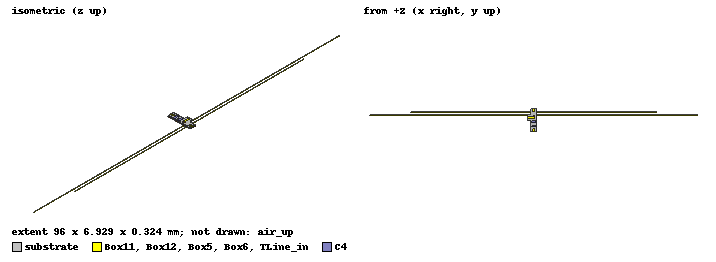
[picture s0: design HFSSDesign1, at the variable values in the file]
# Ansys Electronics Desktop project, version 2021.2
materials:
  vacuum: permittivity=1
  Al2_O3_ceramic: permittivity=9.9 dielectric_loss_tangent=0.002
  copper: permeability=0.999991 conductivity=58000000

design HFSSDesign1 (HFSS, DrivenModal, model units mm)
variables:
  l_sub12g = 2.576mm
  w_line12g = 0.395mm
  delta_x_HP12g = 0.05mm
  l_sub_LPF12g = 4.008mm
  l_line112g = 2mm
  h_sub12G = 0.254mm
  w_sub12G = 1.7mm
  copper = 0.035mm
  gap_down_box12g = 0.2mm
  h_down_box12g = 0.25mm
  h_up_box12g = 0.25mm
  gap_up_box12g = 0mm
  l_line312g = 0.04mm
  delta_cover_HPF12g = 0.05mm
  l_line212g = 1mm
  w_L212g = (0.032 * 0.2) mm
  L2_g212g = 0.075mm
  d_L212g = 1.41mm
  cover_HPF_out12g = 0.1mm
  w_L412g = (0.056 * 0.2) mm
  d_L412g = 0.62mm
  L4_g112g = 0.16 * index1
  L4_g212g = 0.08mm
  L4_g412g = 0.3mm
  L4_g312g = 0.85mm
  L2_g312g = 0.75mm
  L2_g112g = 0.12 * index1
  L2_g412g = 0.3mm
  l_L512g = 0.693mm
  w_L512g = 0.08mm
  w_C412g = 1.45mm
  l_C412g = 0.5544mm
  l_L312g = 0.8208mm
  w_L312g = 0.03mm
  l_C212g = 0.4554mm
  w_C212g = 1.45mm
  l_L112g = 0.4644mm
  w_L112g = 0.09mm
  l_line412g = 1mm
  compensation_y = L2_g212g + cover_HPF_out12g + l_line212g + 1.426mm - l_sub12g
  compensation_y_2 = l_line312g + l_L512g + l_C412g + l_L312g + l_C212g + l_L112g + l_line412g - l_sub_LPF12g
  index1 = 0.6m
  w_C1 = 0.37mm
  w_C1_y = 0.22mm
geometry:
  substrate [Al2_O3_ceramic] = box(corner=(-w_sub12G/2, l_sub12g, 0mm), size=(w_sub12G, -(l_sub12g+(w_line12g-delta_x_HP12g)+l_sub_LPF12g), -h_sub12G))
  coordinate_system RelativeCS1 = origin=(0mm, -(w_line12g-delta_x_HP12g), 0mm) x=(-1mm, 0mm, 0mm) y=(0mm, -1mm, 0mm)
  coordinate_system RelativeCS2 = origin=(-w_line12g/2, -w_line12g/2, 0mm) x=(1mm, 0mm, 0mm) y=(0mm, 1mm, 0mm) in RelativeCS1
  sub_in = box(corner=(0, w_sub12g/2, 0mm), size=(l_line112g, -w_sub12g, -h_sub12g)) in RelativeCS2
  substrate.unite(sub_in)
  air_up [vacuum] = box(corner=(-(w_sub12g+2*gap_up_box12g)/2, l_sub12g, -(h_sub12g+copper)), size=(w_sub12g+2*gap_up_box12g, -(l_sub12g+(w_line12g-delta_x_HP12g)+l_sub_LPF12g), h_up_box12g+h_sub12g+copper))
  air_down = box(corner=(-(w_sub12g-2*gap_down_box12g)/2, l_sub12g, -(h_sub12g+copper)), size=(w_sub12g-2*gap_down_box12g, -(l_sub12g+(w_line12g-delta_x_HP12g)+l_sub_LPF12g), -h_down_box12g))
  air_up.unite(air_down)
  air_in1 = box(corner=(0, w_sub12g/2, -(h_sub12g+copper)), size=(l_line112g, -w_sub12g, h_sub12g+copper+h_up_box12g)) in RelativeCS2
  air_in2 = box(corner=(0, -(w_sub12g-2*gap_down_box12g)/2, -(h_sub12g+copper+h_down_box12g)), size=(l_line112g, w_sub12g-2*gap_down_box12g, h_down_box12g)) in RelativeCS2
  air_in1.unite(air_in2)
  air_up.unite(air_in1)
  TLine_in [copper] = box(corner=(w_line12g/2, 0.05mm, 0mm), size=(-l_line112g, -w_line12g, copper))
  Rectangle2 [copper] = rectangle(corner=(w_sub12g/2, l_sub12g, -h_sub12g), x_size=-gap_down_box12g, y_size=-(l_sub12g+(w_line12g-delta_x_HP12g)+l_sub_LPF12g))
  Rectangle2.thicken(-copper)
  TLine_out [copper] = box(corner=(-w_line12g/2, d_L212g+w_L212g/2+L2_g212g+cover_HPF_out12g, 0mm), size=(w_line12g, l_line212g - (w_L212g- 0.032mm)/2 -(d_L212g - 1.41mm) -compensation_y, copper))
  L5 [copper] = box(corner=(-w_L512g/2, l_line312g, 0mm), size=(w_L512g, l_L512g, copper)) in RelativeCS1
  C4 [copper] = box(corner=(-w_C412g/2, l_line312g+l_L512g, 0mm), size=(w_C412g, l_C412g, copper)) in RelativeCS1
  L3 [copper] = box(corner=(-w_L312g/2, l_line312g+l_L512g+l_C412g, 0mm), size=(w_L312g, l_L312g, copper)) in RelativeCS1
  C2 [copper] = box(corner=(-w_C212g/2, l_line312g+l_L512g+l_C412g+l_L312g, 0mm), size=(w_C212g, l_C212g, copper)) in RelativeCS1
  L1 [copper] = box(corner=(-w_L112g/2, l_line312g+l_L512g+l_C412g+l_L312g+l_C212g, 0mm), size=(w_L112g, l_L112g, copper)) in RelativeCS1
  TLine_out1 [copper] = box(corner=(-w_line12g/2, l_line312g+l_L512g+l_C412g+l_L312g+l_C212g+l_L112g, 0mm), size=(w_line12g, l_line412g - compensation_y_2, copper)) in RelativeCS1
  C4_bottom [copper] = box(corner=(-(w_sub12g-gap_down_box12g*2)/2, l_line312g+l_L512g, -h_sub12g), size=(w_sub12g-gap_down_box12g*2, l_C412g, -copper)) in RelativeCS1
  C2_bottom [copper] = box(corner=(-(w_sub12g-gap_down_box12g*2)/2, l_line312g+l_L512g+l_C412g+l_L312g, -h_sub12g), size=(w_sub12g-gap_down_box12g*2, l_C212g, -copper)) in RelativeCS1
  Rectangle9 [copper] = rectangle(corner=(l_line112g, w_sub12g/2, -h_sub12g), x_size=-(l_line112g-w_sub12g/2-w_line12g/2), y_size=-gap_down_box12g) in RelativeCS2
  Rectangle11 = rectangle(corner=(w_sub12g/2+w_line12g/2, w_sub12g/2-gap_down_box12g, -h_sub12g), x_size=-gap_down_box12g, y_size=l_sub_LPF12g-(w_sub12g/2-gap_down_box12g-w_line12g/2)) in RelativeCS2
  Rectangle9.unite(Rectangle11)
  Rectangle9.thicken(-copper)
  Rectangle10 [copper] = rectangle(corner=(l_line112g, -w_sub12g/2, -h_sub12g), x_size=-(l_line112g-w_sub12g/2-w_line12g/2), y_size=gap_down_box12g) in RelativeCS2
  Rectangle12 = rectangle(corner=(w_sub12g/2+w_line12g/2, -(w_sub12g/2-gap_down_box12g), -h_sub12g), x_size=-gap_down_box12g, y_size=-(l_sub12g-delta_x_HP12g-(w_sub12g/2-gap_down_box12g-w_line12g/2))) in RelativeCS2
  Rectangle10.unite(Rectangle12)
  Rectangle10.thicken(copper)
  Box1 [copper] = box(corner=(0mm, -w_line12g/2, 0mm), size=(w_C1, -delta_cover_HPF12g - w_C1_y, copper)) in RelativeCS2
  Box2 [copper] = box(corner=(0mm, w_line12g/2, 0mm), size=(w_line12g, l_line312g, copper)) in RelativeCS2
  Box3 [copper] = box(corner=(-(w_sub12g-2*gap_down_box12g)/2, d_L212g, -h_sub12g), size=(w_sub12g-2*gap_down_box12g, w_L212g/2, -copper))
  Box4 [copper] = box(corner=(-(w_sub12g-2*gap_down_box12g)/2, d_L212g-w_L212g/2, -h_sub12g), size=(w_sub12g-2*gap_down_box12g, w_L212g/2, -copper))
  Box5 [copper] = box(corner=(-L2_g112g/2, d_L212g+w_L212g/2, -h_sub12g), size=(L2_g112g, L2_g212g, -copper))
  Box6 [copper] = box(corner=(-L2_g112g/2, d_L212g+w_L212g/2-w_L212g, -h_sub12g), size=(L2_g112g, -L2_g212g, -copper))
  Box7 [copper] = box(corner=(-L2_g312g/2, d_L212g+w_L212g/2+L2_g212g, -h_sub12g), size=(L2_g312g, L2_g412g, -copper))
  Box8 [copper] = box(corner=(-L2_g312g/2, d_L212g+w_L212g/2+L2_g212g-L2_g212g*2-w_L212g, -h_sub12g), size=(L2_g312g, -L2_g412g, -copper))
  Box9 [copper] = box(corner=(-(w_sub12g-gap_down_box12g*2)/2, d_L412g, -h_sub12g), size=(w_sub12g-gap_down_box12g*2, w_L412g/2, -copper))
  Box10 [copper] = box(corner=(-(w_sub12g-gap_down_box12g*2)/2, d_L412g, -h_sub12g), size=(w_sub12g-gap_down_box12g*2, -w_L412g/2, -copper))
  Box11 [copper] = box(corner=(-L4_g112g/2, d_L412g+w_L412g/2, -h_sub12g), size=(L4_g112g, L4_g212g, -copper))
  Box12 [copper] = box(corner=(-L4_g112g/2, d_L412g+w_L412g/2-w_L412g, -h_sub12g), size=(L4_g112g, -L4_g212g, -copper))
  Box13 [copper] = box(corner=(-L4_g312g/2, d_L412g+w_L412g/2+L4_g212g, -h_sub12g), size=(L4_g312g, L4_g412g, -copper))
  Box14 [copper] = box(corner=(-L4_g312g/2, d_L412g+w_L412g/2+L4_g212g-L4_g212g*2-w_L412g, -h_sub12g), size=(L4_g312g, -L4_g412g, -copper))
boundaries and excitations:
  1: Wave Port Faces=air_up.face(6 of 6) NumModes=1 Modes{Mode1{IntLine{middle of TLine_in.edge(3 of 12) -> middle of air_up.edge(5 of 12)} CharImp=Zpi}}
  2: Wave Port Faces=air_up.face(+y) NumModes=1 Modes{Mode1{IntLine{middle of TLine_out.edge(2 of 12) -> middle of air_up.edge(8 of 12)} CharImp=Zpi}}
  3: Wave Port Faces=air_up.face(-y) NumModes=1 Modes{Mode1{IntLine{middle of TLine_out1.edge(2 of 12) -> middle of air_up.edge(6 of 12)} CharImp=Zpi}}
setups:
  Setup1: HfssDrivenAuto AutoSolverSetting="Higher Speed" Type=Interpolating
    sweep Sweep: 0GHz to 40GHz, 501 points;
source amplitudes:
  1:1: 1W 0deg
  2:1, 3:1: 0W 0deg
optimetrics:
  ParametricSetup1: Parametric disabled Sim._Setups=[Setup1]
    sweep w_C212g: LIN 0.45mm 1.1mm 0.5mm
  ParametricSetup2: Parametric disabled Sim._Setups=[Setup1]
    sweep index1: LIN 0.1 1 0.1
  ParametricSetup3: Parametric disabled Sim._Setups=[Setup1]
    sweep w_C1: LIN 0.3mm 0.5mm 0.03mm
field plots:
  Mag_E1: E Field over a plane on Setup1 : LastAdaptive at Freq=20.5GHz Phase=0deg
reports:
  S Parameter Plot 1: dB(S(1,1)), dB(S(2,1)), dB(S(3,1)) vs Freq on Setup1 : Sweep; markers MX1 at x=1.8506019e+10
  S Parameter Plot 2: dB(S(2,1)), dB(S(3,1)) vs Freq on Setup1 : Sweep [w_C212g=all index1=all w_C1=all]
